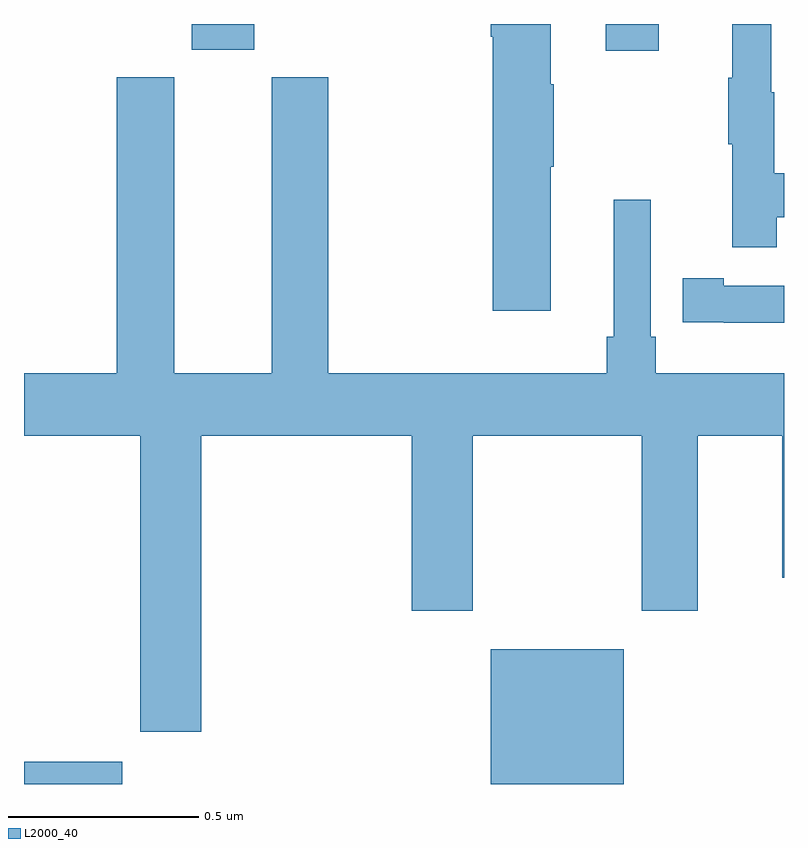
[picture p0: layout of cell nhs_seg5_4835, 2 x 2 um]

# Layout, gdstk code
import gdstk
lib = gdstk.Library(unit=1e-6, precision=1e-09)
def R(c, l, rs):  # rectangles x0, y0, x1, y1
    for r in rs: c.add(gdstk.rectangle(r[:2], r[2:], *l))
def P(c, l, *ps):  # polygons
    for p in ps: c.add(gdstk.Polygon(p, *l))
L2000_40 = (2000, 40)

nhs_seg5_4835 = lib.new_cell('nhs_seg5_4835')
R(nhs_seg5_4835, L2000_40, [(175,899.799,175.258,899.857), (176.228,899.799,176.578,900.154), (176.531,901.728,176.671,901.799), (175.442,901.731,175.606,901.799)])
P(nhs_seg5_4835, L2000_40, [(176.386,901.423),(176.394,901.423),(176.394,901.64),(176.386,901.64),(176.386,901.799),(176.228,901.799),(176.228,901.766),(176.233,901.766),(176.233,901.044),(176.386,901.044)],
  [(176.981,901.29),(177,901.29),(177,901.406),(176.974,901.406),(176.974,901.62),(176.966,901.62),(176.966,901.799),(176.864,901.799),(176.864,901.657),(176.853,901.657),(176.853,901.483),(176.864,901.483),(176.864,901.212),(176.981,901.212)],
  [(175.466,900.716),(176.021,900.716),(176.021,900.255),(176.181,900.255),(176.181,900.716),(176.626,900.716),(176.626,900.255),(176.773,900.255),(176.773,900.716),(176.996,900.716),(176.996,900.342),(177,900.342),(177,900.88),(176.663,900.88),(176.663,900.976),(176.649,900.976),(176.649,901.336),(176.552,901.336),(176.552,900.976),(176.533,900.976),(176.533,900.88),(175.8,900.88),(175.8,901.659),(175.652,901.659),(175.652,900.88),(175.396,900.88),(175.396,901.659),(175.244,901.659),(175.244,900.88),(175,900.88),(175,900.716),(175.306,900.716),(175.306,899.937),(175.466,899.937)],
  [(177,901.11),(176.842,901.11),(176.842,901.13),(176.734,901.13),(176.734,901.014),(176.842,901.014),(176.842,901.013),(177,901.013)])

lib.write_gds('nhs_seg5_4835.gds')
